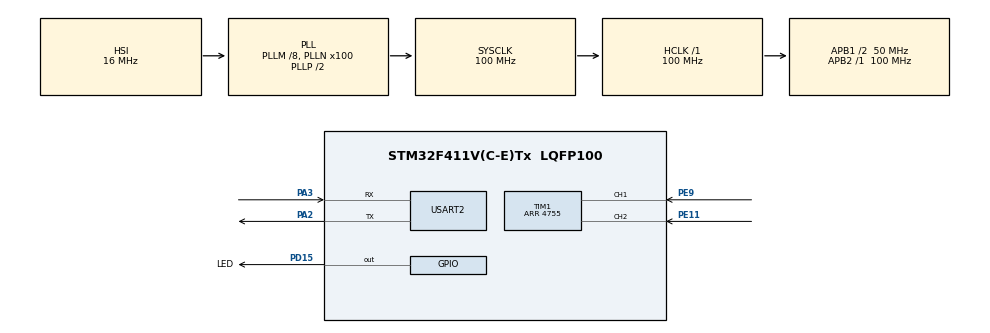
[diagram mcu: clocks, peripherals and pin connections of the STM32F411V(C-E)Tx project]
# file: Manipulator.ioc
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Mcu.Family=STM32F4
Mcu.Name=STM32F411V(C-E)Tx
Mcu.Package=LQFP100
NVIC.PriorityGroup=NVIC_PRIORITYGROUP_4
NVIC.TIM1_UP_TIM10_IRQn=true\:0\:0\:false\:false\:true\:true\:true
PA13.Mode=Serial_Wire
PA13.Signal=SYS_JTMS-SWDIO
PA14.Mode=Serial_Wire
PA14.Signal=SYS_JTCK-SWCLK
PA2.Mode=Asynchronous
PA2.Signal=USART2_TX
PA3.Mode=Asynchronous
PA3.Signal=USART2_RX
PD15.GPIO_Label=LED
PD15.Signal=GPIO_Output
PE11.Signal=S_TIM1_CH2
PE9.Signal=S_TIM1_CH1
PH0\ -\ OSC_IN.Mode=HSE-External-Oscillator
PH0\ -\ OSC_IN.Signal=RCC_OSC_IN
PH1\ -\ OSC_OUT.Mode=HSE-External-Oscillator
PH1\ -\ OSC_OUT.Signal=RCC_OSC_OUT
ProjectManager.HeapSize=0x200
ProjectManager.StackSize=0x400
ProjectManager.TargetToolchain=STM32CubeIDE
RCC.48MHZClocksFreq_Value=50000000
RCC.AHBFreq_Value=100000000
RCC.APB1CLKDivider=RCC_HCLK_DIV2
RCC.APB1Freq_Value=50000000
RCC.APB1TimFreq_Value=100000000
RCC.APB2Freq_Value=100000000
RCC.APB2TimFreq_Value=100000000
RCC.CortexFreq_Value=100000000
RCC.HCLKFreq_Value=100000000
RCC.HSE_VALUE=25000000
RCC.HSI_VALUE=16000000
RCC.LSE_VALUE=32768
RCC.PLLM=8
RCC.PLLN=100
RCC.SYSCLKFreq_VALUE=100000000
RCC.SYSCLKSource=RCC_SYSCLKSOURCE_PLLCLK
RCC.VCOOutputFreq_Value=200000000
SH.S_TIM1_CH1.0=TIM1_CH1,Encoder_Interface
SH.S_TIM1_CH2.0=TIM1_CH2,Encoder_Interface
TIM1.EncoderMode=TIM_ENCODERMODE_TI12
TIM1.IC1Filter=15
TIM1.IC2Filter=15
TIM1.Period=4755
TIM10.Period=49999
TIM10.Prescaler=999
USART2.VirtualMode=VM_ASYNC
VP_TIM10_VS_ClockSourceINT.Mode=Enable_Timer
board=custom

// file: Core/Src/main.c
/* USER CODE BEGIN Header */
/**
  ******************************************************************************
  * @file           : main.c
  * @brief          : Main program body
  ******************************************************************************
  * @attention
  *
  * <h2><center>&copy; Copyright (c) 2021 STMicroelectronics.
  * All rights reserved.</center></h2>
  *
  * This software component is licensed by ST under BSD 3-Clause license,
  * the "License"; You may not use this file except in compliance with the
  * License. You may obtain a copy of the License at:
  *                        opensource.org/licenses/BSD-3-Clause
  *
  ******************************************************************************
  */
/* USER CODE END Header */
#include "main.h"
#include "tim.h"
#include "usart.h"
#include "gpio.h"

/* USER CODE BEGIN Includes */
#include <stdio.h>
/* USER CODE END Includes */

/* USER CODE BEGIN PV */
volatile uint16_t pulse_count=0; // Licznik impulsow
volatile uint16_t positions=0; // Licznik przekreconych pozycji
volatile uint8_t flag;
uint8_t numb1=0, numb2=0, numb3=0, numb4=0;
uint16_t help1=0;
/* USER CODE END PV */

void SystemClock_Config(void);
/* USER CODE BEGIN PFP */
int _write(int file, char *ptr, int len){
	HAL_UART_Transmit(&huart2, ptr, len, 50);
	return len;
}

void HAL_TIM_PeriodElapsedCallback(TIM_HandleTypeDef *htim){
	if(htim == &htim10){
		flag=1;
	}

}
/* USER CODE END PFP */

int main(void)
{

  /* MCU Configuration--------------------------------------------------------*/

  /* Reset of all peripherals, Initializes the Flash interface and the Systick. */
  HAL_Init();

  /* Configure the system clock */
  SystemClock_Config();

  /* Initialize all configured peripherals */
  MX_GPIO_Init();
  MX_TIM1_Init();
  MX_TIM10_Init();
  MX_USART2_UART_Init();
  /* USER CODE BEGIN 2 */
  HAL_TIM_Encoder_Start(&htim1, TIM_CHANNEL_ALL);
  HAL_TIM_Base_Start_IT(&htim10);

  /* USER CODE END 2 */

  /* Infinite loop */
  /* USER CODE BEGIN WHILE */
  while (1)
  {
	  pulse_count = TIM1->CNT;
	  positions = pulse_count/4;
	  if(flag==1){
		  help1 = positions;
		  numb1 = help1/1000;
		  numb2 = (help1 % 1000)/100;
		  numb3 = (help1 % 100)/10;
		  numb4 = (help1 % 10);
		  flag=0;
		  printf("A%d%d%d%d \r\n",numb1,numb2,numb3,numb4);
	  }
    /* USER CODE END WHILE */

  }
}

void SystemClock_Config(void)
{
  RCC_OscInitTypeDef RCC_OscInitStruct = {0};
  RCC_ClkInitTypeDef RCC_ClkInitStruct = {0};

  /** Configure the main internal regulator output voltage
  */
  __HAL_RCC_PWR_CLK_ENABLE();
  __HAL_PWR_VOLTAGESCALING_CONFIG(PWR_REGULATOR_VOLTAGE_SCALE1);
  /** Initializes the RCC Oscillators according to the specified parameters
  * in the RCC_OscInitTypeDef structure.
  */
  RCC_OscInitStruct.OscillatorType = RCC_OSCILLATORTYPE_HSI;
  RCC_OscInitStruct.HSIState = RCC_HSI_ON;
  RCC_OscInitStruct.HSICalibrationValue = RCC_HSICALIBRATION_DEFAULT;
  RCC_OscInitStruct.PLL.PLLState = RCC_PLL_ON;
  RCC_OscInitStruct.PLL.PLLSource = RCC_PLLSOURCE_HSI;
  RCC_OscInitStruct.PLL.PLLM = 8;
  RCC_OscInitStruct.PLL.PLLN = 100;
  RCC_OscInitStruct.PLL.PLLP = RCC_PLLP_DIV2;
  RCC_OscInitStruct.PLL.PLLQ = 4;
  if (HAL_RCC_OscConfig(&RCC_OscInitStruct) != HAL_OK)
  {
    Error_Handler();
  }
  /** Initializes the CPU, AHB and APB buses clocks
  */
  RCC_ClkInitStruct.ClockType = RCC_CLOCKTYPE_HCLK|RCC_CLOCKTYPE_SYSCLK
                              |RCC_CLOCKTYPE_PCLK1|RCC_CLOCKTYPE_PCLK2;
  RCC_ClkInitStruct.SYSCLKSource = RCC_SYSCLKSOURCE_PLLCLK;
  RCC_ClkInitStruct.AHBCLKDivider = RCC_SYSCLK_DIV1;
  RCC_ClkInitStruct.APB1CLKDivider = RCC_HCLK_DIV2;
  RCC_ClkInitStruct.APB2CLKDivider = RCC_HCLK_DIV1;

  if (HAL_RCC_ClockConfig(&RCC_ClkInitStruct, FLASH_LATENCY_3) != HAL_OK)
  {
    Error_Handler();
  }
}

void Error_Handler(void)
{
}

/************************ (C) COPYRIGHT STMicroelectronics *****END OF FILE****/
